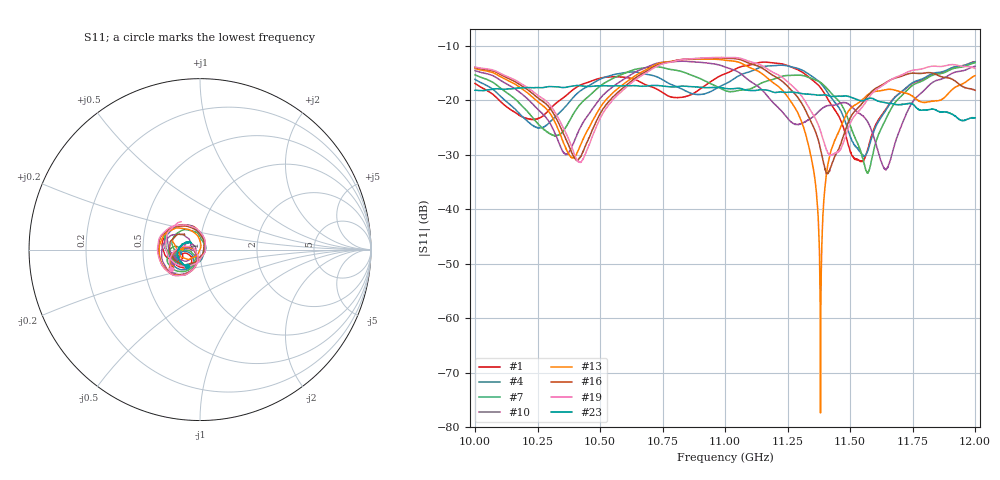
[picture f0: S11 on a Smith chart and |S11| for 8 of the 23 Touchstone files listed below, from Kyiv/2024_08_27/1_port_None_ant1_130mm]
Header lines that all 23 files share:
[Version] 2.0
! Rohde & Schwarz Vector Network Analyzer
! Rohde-Schwarz,ZNL20-2Port,1323001220200009,1.71.1.10-23.02.1.238
! Port Assignments:
! Nominal Port -> Actual Test Port
!  1 -> 1
# Hz S DB R 50
[Number of Ports] 1
! freq[Hz]  S11[mag dB]  S11[ang]
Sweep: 10 GHz to 12 GHz
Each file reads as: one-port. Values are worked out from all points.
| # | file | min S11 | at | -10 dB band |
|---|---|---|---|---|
| 1 | 0.01.s1p | -31.2 dB | 11.55 GHz | over 2 GHz wide |
| 2 | 1.s1p | -29.7 dB | 11.55 GHz | over 2 GHz wide |
| 3 | 2.s1p | -30.0 dB | 11.55 GHz | over 2 GHz wide |
| 4 | 3.s1p | -30.3 dB | 11.55 GHz | over 2 GHz wide |
| 5 | 4.s1p | -30.6 dB | 11.56 GHz | over 2 GHz wide |
| 6 | 5.s1p | -31.5 dB | 11.56 GHz | over 2 GHz wide |
| 7 | 6.s1p | -33.4 dB | 11.57 GHz | over 2 GHz wide |
| 8 | 7.s1p | -38.1 dB | 11.58 GHz | over 2 GHz wide |
| 9 | 8.s1p | -62.1 dB | 11.61 GHz | over 2 GHz wide |
| 10 | 9.s1p | -32.8 dB | 11.64 GHz | over 2 GHz wide |
| 11 | 10.s1p | -30.2 dB | 10.37 GHz | over 2 GHz wide |
| 12 | 11.s1p | -38.2 dB | 11.36 GHz | over 2 GHz wide |
| 13 | 12.s1p | -77.4 dB | 11.38 GHz | over 2 GHz wide |
| 14 | 13.s1p | -41.5 dB | 11.39 GHz | over 2 GHz wide |
| 15 | 14.s1p | -36.3 dB | 11.4 GHz | over 2 GHz wide |
| 16 | 15.s1p | -33.5 dB | 11.41 GHz | over 2 GHz wide |
| 17 | 16.s1p | -32.0 dB | 11.42 GHz | over 2 GHz wide |
| 18 | 17.s1p | -31.3 dB | 10.41 GHz | over 2 GHz wide |
| 19 | 18.s1p | -31.4 dB | 10.42 GHz | over 2 GHz wide |
| 20 | 19.8.s1p | -31.7 dB | 10.42 GHz | over 2 GHz wide |
| 21 | 19.s1p | -31.5 dB | 10.42 GHz | over 2 GHz wide |
| 22 | metal.s1p | -32.4 dB | 10.53 GHz | over 2 GHz wide |
| 23 | noDUT.s1p | -23.7 dB | 11.95 GHz | over 2 GHz wide |
